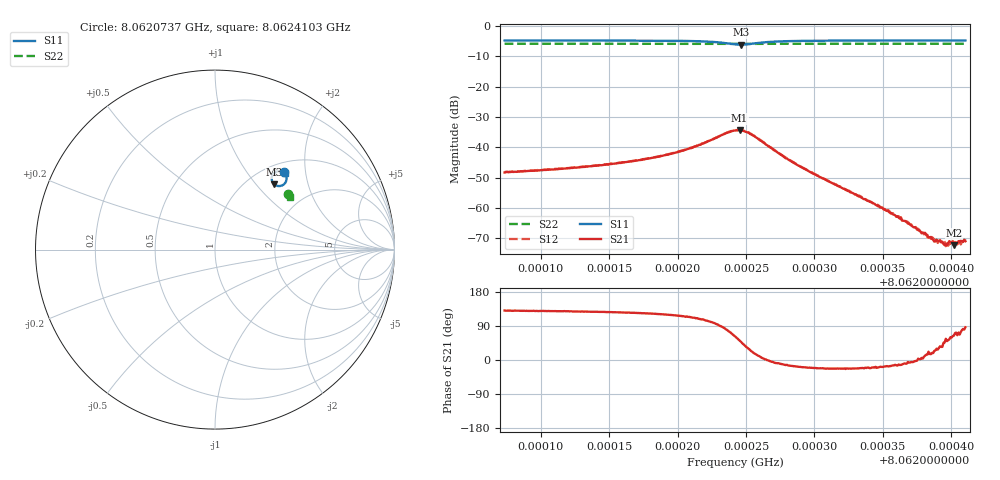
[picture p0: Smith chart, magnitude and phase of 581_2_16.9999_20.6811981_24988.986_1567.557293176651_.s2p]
#  HZ  S  RI  R  50.00
! Rohde & Schwarz Vector Network Analyzer
! Rohde-Schwarz,ZNB20-2Port,1311601062101988,3.16
! Created: UTC 3/20/2024, 11:18:07 PM
! freq[Hz]  re:S11  im:S11  re:S21  im:S21  re:S12  im:S12  re:S22  im:S22
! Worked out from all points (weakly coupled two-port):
!   401 points, 8.0620737 GHz to 8.0624103 GHz, reference 50 ohm
!   highest |S21| = -34.36 dB at 8.0622453 GHz (marker M1); lowest = -72.3 dB at 8.0624019 GHz (marker M2)
!   lowest |S11| = -6.2 dB at 8.0622462 GHz (marker M3), VSWR 2.93, Z = 65.2 + j62.6 ohm
!   |S11| at or under -10 dB: nowhere
!   |S22| runs from -5.9 to -5.9 dB; largest |S21 - S12| = 0.0012
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8.06207366e9  0.382 0.4309  -0.0025 0.00292  -0.00235 0.00311  0.4054 0.3073
8.06213005e9  0.3876 0.4252  -0.00292 0.00372  -0.00271 0.00394  0.4074 0.3044
8.06215698e9  0.3909 0.4207  -0.00323 0.00448  -0.00295 0.00466  0.4084 0.3029
8.06218643e9  0.3953 0.4125  -0.00364 0.00601  -0.0033 0.00626  0.4095 0.301
8.06221168e9  0.3988 0.3964  -0.00372 0.00941  -0.00312 0.00961  0.4103 0.2991
8.06222935e9  0.3899 0.3697  -0.000939 0.0147  6.75e-05 0.0149  0.4102 0.2973
8.06224198e9  0.3484 0.3546  0.00874 0.0167  0.00986 0.0164  0.4086 0.2964
8.06224534e9  0.333 0.3615  0.012 0.0149  0.0129 0.0144  0.408 0.2969
8.06224618e9  0.3298 0.3642  0.0126 0.0143  0.0136 0.0136  0.4078 0.2969
8.06225544e9  0.316 0.4031  0.0147 0.00507  0.0151 0.00441  0.4082 0.2986
8.06227985e9  0.3514 0.4369  0.0064 -0.00144  0.0063 -0.00195  0.411 0.2983
8.06229836e9  0.365 0.4366  0.00351 -0.00132  0.00348 -0.00157  0.4124 0.2971
8.06235475e9  0.381 0.4305  0.000811 -0.000236  0.000843 -0.000288  0.4147 0.294
8.06238084e9  0.3845 0.4281  0.000382 7.75e-05  0.00037 6.26e-05  0.4156 0.2927
8.06238673e9  0.3851 0.4277  0.000283 9.36e-05  0.000309 7.94e-05  0.4159 0.2923
8.06239094e9  0.3857 0.4273  0.000243 0.000151  0.000249 0.000133  0.416 0.2921
8.06239346e9  0.3859 0.4271  0.000229 0.000159  0.000231 0.000194  0.4161 0.2918
8.06239683e9  0.3863 0.4269  0.000157 0.000185  0.000202 0.000207  0.4163 0.2917
8.06239935e9  0.3866 0.4267  0.000135 0.000237  0.000162 0.000211  0.4163 0.2916
8.06240188e9  0.3868 0.4266  0.000106 0.000218  0.000112 0.000235  0.4163 0.2915
8.06240777e9  0.3874 0.4262  5.62e-05 0.000286  5.95e-05 0.000273  0.4167 0.2912
8.06241029e9  0.3876 0.4259  1.84e-05 0.000282  6.92e-05 0.000296  0.4167 0.291
